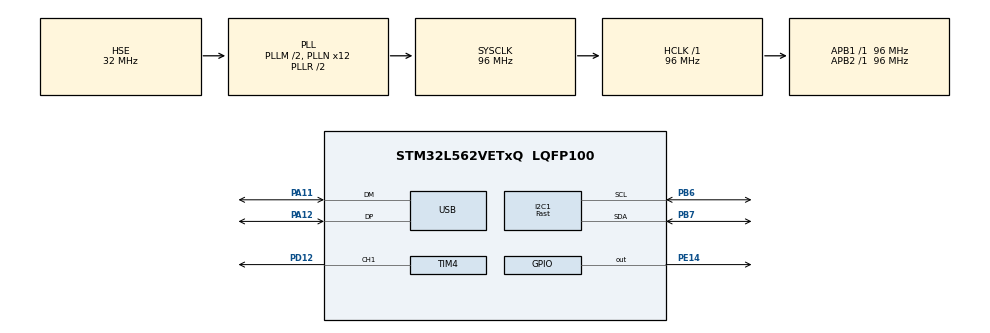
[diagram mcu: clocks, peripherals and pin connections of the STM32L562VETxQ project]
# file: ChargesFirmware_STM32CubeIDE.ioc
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I2C1.I2C_Speed_Mode=I2C_Fast
I2C1.Timing=0x009032AE
Mcu.Family=STM32L5
Mcu.Name=STM32L562VETxQ
Mcu.Package=LQFP100
NVIC.PriorityGroup=NVIC_PRIORITYGROUP_3
NVIC.USB_FS_IRQn=true\:0\:0\:false\:false\:true\:false\:true\:true
PA11.Mode=Device
PA11.Signal=USB_DM
PA12.Mode=Device
PA12.Signal=USB_DP
PA13\ (JTMS/SWDIO).Mode=Serial_Wire
PA13\ (JTMS/SWDIO).Signal=DEBUG_JTMS-SWDIO
PA14\ (JTCK/SWCLK).Mode=Serial_Wire
PA14\ (JTCK/SWCLK).Signal=DEBUG_JTCK-SWCLK
PB6.Mode=I2C
PB6.Signal=I2C1_SCL
PB7.Mode=I2C
PB7.Signal=I2C1_SDA
PD12.Signal=S_TIM4_CH1
PE14.Signal=GPIO_Output
PH0-OSC_IN\ (PH0).Mode=HSE-External-Oscillator
PH0-OSC_IN\ (PH0).Signal=RCC_OSC_IN
PH1-OSC_OUT\ (PH1).Mode=HSE-External-Oscillator
PH1-OSC_OUT\ (PH1).Signal=RCC_OSC_OUT
ProjectManager.HeapSize=0x200
ProjectManager.StackSize=0x400
ProjectManager.TargetToolchain=STM32CubeIDE
RCC.ADCFreq_Value=48000000
RCC.AHBFreq_Value=96000000
RCC.APB1Freq_Value=96000000
RCC.APB1TimFreq_Value=96000000
RCC.APB2Freq_Value=96000000
RCC.APB2TimFreq_Value=96000000
RCC.CK48CLockSelection=RCC_USBCLKSOURCE_PLL
RCC.CortexFreq_Value=96000000
RCC.HCLKFreq_Value=96000000
RCC.HSE_VALUE=32000000
RCC.HSI48_VALUE=48000000
RCC.HSI_VALUE=16000000
RCC.LSE_VALUE=32768
RCC.MSIClockRange=RCC_MSIRANGE_10
RCC.MSI_VALUE=32000000
RCC.PLLM=2
RCC.PLLN=12
RCC.PLLQ=RCC_PLLQ_DIV4
RCC.PLLSAI1M=4
RCC.PLLSAI1N=12
RCC.PLLSourceVirtual=RCC_PLLSOURCE_HSE
RCC.SYSCLKFreq_VALUE=96000000
RCC.SYSCLKSource=RCC_SYSCLKSOURCE_PLLCLK
RCC.USBFreq_Value=48000000
RCC.VCOOutputFreq_Value=192000000
SH.S_TIM4_CH1.0=TIM4_CH1,PWM Generation1 CH1
TIM4.Channel-PWM\ Generation1\ CH1=TIM_CHANNEL_1
TIM4.Period=20
TIM4.Prescaler=127
USB_DEVICE.CLASS_NAME_FS=MSC
USB_DEVICE.VirtualMode=Msc
USB_DEVICE.VirtualModeFS=Msc_FS
VP_FATFS_VS_Generic.Mode=User_defined
VP_ICACHE_VS_ICACHE.Mode=DefaultMode
VP_PWR_VS_DBSignals.Mode=DisableDeadBatterySignals
VP_PWR_VS_SECSignals.Mode=Security/Privilege
VP_TIM4_VS_ClockSourceINT.Mode=Internal
VP_USB_DEVICE_VS_USB_DEVICE_MSC_FS.Mode=MSC_FS
board=custom

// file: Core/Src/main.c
/* USER CODE BEGIN Header */
/**
 ******************************************************************************
 * @file           : main.c
 * @brief          : Main program body
 ******************************************************************************
 * @attention
 *
 * Copyright (c) 2022 STMicroelectronics.
 * All rights reserved.
 *
 * This software is licensed under terms that can be found in the LICENSE file
 * in the root directory of this software component.
 * If no LICENSE file comes with this software, it is provided AS-IS.
 *
 ******************************************************************************
 */
/* USER CODE END Header */
#include "main.h"
#include "app_fatfs.h"
#include "usb_device.h"

/* USER CODE BEGIN Includes */
#include <string.h>
#include <stdio.h>
#include <stdbool.h>
/* USER CODE END Includes */

 I2C_HandleTypeDef hi2c1;

TIM_HandleTypeDef htim4;

void SystemClock_Config(void);
static void MX_GPIO_Init(void);
static void MX_ICACHE_Init(void);
static void MX_I2C1_Init(void);
static void MX_TIM4_Init(void);

int main(void)
{
  /* USER CODE BEGIN 1 */
	int16_t val;
	float temp_c;
	uint8_t buf[1];
	uint8_t validAddr[20];
	uint8_t addrIndex = 0;
  /* USER CODE END 1 */

  /* MCU Configuration--------------------------------------------------------*/

  /* Reset of all peripherals, Initializes the Flash interface and the Systick. */
  HAL_Init();

  /* Configure the system clock */
  SystemClock_Config();

  /* Initialize all configured peripherals */
  MX_GPIO_Init();
  MX_ICACHE_Init();
  MX_USB_Device_Init();
  if (MX_FATFS_Init() != APP_OK) {
    Error_Handler();
  }
  MX_I2C1_Init();
  MX_TIM4_Init();
  /* USER CODE BEGIN 2 */
	HAL_TIM_PWM_Start(&htim4, TIM_CHANNEL_1);

	HAL_StatusTypeDef i2c;

	/*--------MS5607_VARS-------------*/
	const uint8_t MS5607_ADDR = 0x77 << 1;
	uint8_t dataBuf[3];
	uint32_t rawTemp = 0, rawPressure = 0; //will hold raw uncalibrated 24 bit readings
	uint16_t C1, C2, C3, C4, C5, C6; // calibration data, explained in datasheet
	int32_t dT, TEMP, P;
	int64_t OFF, SENS;
	/*--------------------------------*/

	/*--------MS5607_INIT-------------*/
	//continually send reset commands until chip wakes up and successfully acknowledges
	do {
		dataBuf[0] = 0x1E;
		i2c = HAL_I2C_Master_Transmit(&hi2c1, MS5607_ADDR, dataBuf, 1,
				HAL_MAX_DELAY);
	} while (i2c != HAL_OK);

	//read in the factory calibration data stored in PROM
	dataBuf[0] = 0xA1; //C1 - Pressure Sensitivity
	i2c = HAL_I2C_Master_Transmit(&hi2c1, MS5607_ADDR, dataBuf, 1,
			HAL_MAX_DELAY);
	i2c = HAL_I2C_Master_Receive(&hi2c1, MS5607_ADDR, dataBuf, 2,
			HAL_MAX_DELAY);
	C1 = (dataBuf[0] << 8) | (dataBuf[1]);

	dataBuf[0] = 0xA2; //C2 - Pressure Offset
	i2c = HAL_I2C_Master_Transmit(&hi2c1, MS5607_ADDR, dataBuf, 1,
			HAL_MAX_DELAY);
	i2c = HAL_I2C_Master_Receive(&hi2c1, MS5607_ADDR, dataBuf, 2,
			HAL_MAX_DELAY);
	C2 = (dataBuf[0] << 8) | (dataBuf[1]);

	dataBuf[0] = 0xA3; //C3 - Temperature Coefficient of Pressure Sensitivity
	i2c = HAL_I2C_Master_Transmit(&hi2c1, MS5607_ADDR, dataBuf, 1,
			HAL_MAX_DELAY);
	i2c = HAL_I2C_Master_Receive(&hi2c1, MS5607_ADDR, dataBuf, 2,
			HAL_MAX_DELAY);
	C3 = (dataBuf[0] << 8) | (dataBuf[1]);

	dataBuf[0] = 0xA4; //C4 - Temperature Coefficient of Pressure Offset
	i2c = HAL_I2C_Master_Transmit(&hi2c1, MS5607_ADDR, dataBuf, 1,
			HAL_MAX_DELAY);
	i2c = HAL_I2C_Master_Receive(&hi2c1, MS5607_ADDR, dataBuf, 2,
			HAL_MAX_DELAY);
	C4 = (dataBuf[0] << 8) | (dataBuf[1]);

	dataBuf[0] = 0xA5; //C5 - Reference Temperature
	i2c = HAL_I2C_Master_Transmit(&hi2c1, MS5607_ADDR, dataBuf, 1,
			HAL_MAX_DELAY);
	i2c = HAL_I2C_Master_Receive(&hi2c1, MS5607_ADDR, dataBuf, 2,
			HAL_MAX_DELAY);
	C5 = (dataBuf[0] << 8) | (dataBuf[1]);

	dataBuf[0] = 0xA6; //C6 - Temperature coefficient of the temperature
	i2c = HAL_I2C_Master_Transmit(&hi2c1, MS5607_ADDR, dataBuf, 1,
			HAL_MAX_DELAY);
	i2c = HAL_I2C_Master_Receive(&hi2c1, MS5607_ADDR, dataBuf, 2,
			HAL_MAX_DELAY);
	C6 = (dataBuf[0] << 8) | (dataBuf[1]);
	/*--------------------------------*/

  /* USER CODE END 2 */

  /* Infinite loop */
	while (1) {

    /* USER CODE BEGIN 3 */

		/*--------MS5607_READ-------------*/
		//start temp reading (0x58), start adc reading (0x00), store data in rawTemp
		dataBuf[0] = 0x58;
		i2c = HAL_I2C_Master_Transmit(&hi2c1, MS5607_ADDR, dataBuf, 1,
				HAL_MAX_DELAY);
		dataBuf[0] = 0x00;
		i2c = HAL_I2C_Master_Transmit(&hi2c1, MS5607_ADDR, dataBuf, 1,
				HAL_MAX_DELAY);
		i2c = HAL_I2C_Master_Receive(&hi2c1, MS5607_ADDR, dataBuf, 3,
				HAL_MAX_DELAY);
		rawTemp = (dataBuf[0] << 16) | (dataBuf[1] << 8) | (dataBuf[2]);

		//start pressure reading (0x48), start adc reading (0x00), store data in rawPressure
		dataBuf[0] = 0x48;
		i2c = HAL_I2C_Master_Transmit(&hi2c1, MS5607_ADDR, dataBuf, 1,
				HAL_MAX_DELAY);
		dataBuf[0] = 0x00;
		i2c = HAL_I2C_Master_Transmit(&hi2c1, MS5607_ADDR, dataBuf, 1,
				HAL_MAX_DELAY);
		i2c = HAL_I2C_Master_Receive(&hi2c1, MS5607_ADDR, dataBuf, 3,
				HAL_MAX_DELAY);
		rawPressure = (dataBuf[0] << 16) | (dataBuf[1] << 8) | (dataBuf[2]);

		//calculate the temperature
		dT = rawTemp - (((int64_t)C5) * 2 ^ 8);
		TEMP = 2000 + dT * ((int64_t)C6) / (2 ^ 23);

		//calculate temperature compensated pressure
		OFF = ((int64_t)C2) * (2 ^ 17) + (((int64_t)C4) * dT) / (2 ^ 6);
		SENS = ((int64_t)C1) * (2 ^ 16) + (((int64_t)C3) * dT) / (2 ^ 7);
		P = ((rawPressure * SENS) / (2 ^ 21) - OFF) / (2 ^ 15);
		/*--------------------------------*/

	}
	/* int x;
	 for(x=40; x<1000; x=x+1)
	 {
	 __HAL_TIM_SET_AUTORELOAD(&hTIM4, x*2);
	 __HAL_TIM_SET_COMPARE(&hTIM4, TIM_CHANNEL_1, x);
	 HAL_Delay(100);
	 }*/
  /* USER CODE END 3 */
}

void SystemClock_Config(void)
{
  RCC_OscInitTypeDef RCC_OscInitStruct = {0};
  RCC_ClkInitTypeDef RCC_ClkInitStruct = {0};

  /** Configure the main internal regulator output voltage
  */
  if (HAL_PWREx_ControlVoltageScaling(PWR_REGULATOR_VOLTAGE_SCALE0) != HAL_OK)
  {
    Error_Handler();
  }

  /** Initializes the RCC Oscillators according to the specified parameters
  * in the RCC_OscInitTypeDef structure.
  */
  RCC_OscInitStruct.OscillatorType = RCC_OSCILLATORTYPE_HSE;
  RCC_OscInitStruct.HSEState = RCC_HSE_ON;
  RCC_OscInitStruct.PLL.PLLState = RCC_PLL_ON;
  RCC_OscInitStruct.PLL.PLLSource = RCC_PLLSOURCE_HSE;
  RCC_OscInitStruct.PLL.PLLM = 2;
  RCC_OscInitStruct.PLL.PLLN = 12;
  RCC_OscInitStruct.PLL.PLLP = RCC_PLLP_DIV7;
  RCC_OscInitStruct.PLL.PLLQ = RCC_PLLQ_DIV4;
  RCC_OscInitStruct.PLL.PLLR = RCC_PLLR_DIV2;
  if (HAL_RCC_OscConfig(&RCC_OscInitStruct) != HAL_OK)
  {
    Error_Handler();
  }

  /** Initializes the CPU, AHB and APB buses clocks
  */
  RCC_ClkInitStruct.ClockType = RCC_CLOCKTYPE_HCLK|RCC_CLOCKTYPE_SYSCLK
                              |RCC_CLOCKTYPE_PCLK1|RCC_CLOCKTYPE_PCLK2;
  RCC_ClkInitStruct.SYSCLKSource = RCC_SYSCLKSOURCE_PLLCLK;
  RCC_ClkInitStruct.AHBCLKDivider = RCC_SYSCLK_DIV1;
  RCC_ClkInitStruct.APB1CLKDivider = RCC_HCLK_DIV1;
  RCC_ClkInitStruct.APB2CLKDivider = RCC_HCLK_DIV1;

  if (HAL_RCC_ClockConfig(&RCC_ClkInitStruct, FLASH_LATENCY_4) != HAL_OK)
  {
    Error_Handler();
  }
}

static void MX_I2C1_Init(void)
{

  hi2c1.Instance = I2C1;
  hi2c1.Init.Timing = 0x009032AE;
  hi2c1.Init.OwnAddress1 = 0;
  hi2c1.Init.AddressingMode = I2C_ADDRESSINGMODE_7BIT;
  hi2c1.Init.DualAddressMode = I2C_DUALADDRESS_DISABLE;
  hi2c1.Init.OwnAddress2 = 0;
  hi2c1.Init.OwnAddress2Masks = I2C_OA2_NOMASK;
  hi2c1.Init.GeneralCallMode = I2C_GENERALCALL_DISABLE;
  hi2c1.Init.NoStretchMode = I2C_NOSTRETCH_DISABLE;
  if (HAL_I2C_Init(&hi2c1) != HAL_OK)
  {
    Error_Handler();
  }

  /** Configure Analogue filter
  */
  if (HAL_I2CEx_ConfigAnalogFilter(&hi2c1, I2C_ANALOGFILTER_ENABLE) != HAL_OK)
  {
    Error_Handler();
  }

  /** Configure Digital filter
  */
  if (HAL_I2CEx_ConfigDigitalFilter(&hi2c1, 0) != HAL_OK)
  {
    Error_Handler();
  }

}

static void MX_ICACHE_Init(void)
{

  /** Enable instruction cache (default 2-ways set associative cache)
  */
  if (HAL_ICACHE_Enable() != HAL_OK)
  {
    Error_Handler();
  }

}

static void MX_TIM4_Init(void)
{

  TIM_ClockConfigTypeDef sClockSourceConfig = {0};
  TIM_MasterConfigTypeDef sMasterConfig = {0};
  TIM_OC_InitTypeDef sConfigOC = {0};

  htim4.Instance = TIM4;
  htim4.Init.Prescaler = 127;
  htim4.Init.CounterMode = TIM_COUNTERMODE_UP;
  htim4.Init.Period = 20;
  htim4.Init.ClockDivision = TIM_CLOCKDIVISION_DIV1;
  htim4.Init.AutoReloadPreload = TIM_AUTORELOAD_PRELOAD_DISABLE;
  if (HAL_TIM_Base_Init(&htim4) != HAL_OK)
  {
    Error_Handler();
  }
  sClockSourceConfig.ClockSource = TIM_CLOCKSOURCE_INTERNAL;
  if (HAL_TIM_ConfigClockSource(&htim4, &sClockSourceConfig) != HAL_OK)
  {
    Error_Handler();
  }
  if (HAL_TIM_PWM_Init(&htim4) != HAL_OK)
  {
    Error_Handler();
  }
  sMasterConfig.MasterOutputTrigger = TIM_TRGO_RESET;
  sMasterConfig.MasterSlaveMode = TIM_MASTERSLAVEMODE_DISABLE;
  if (HAL_TIMEx_MasterConfigSynchronization(&htim4, &sMasterConfig) != HAL_OK)
  {
    Error_Handler();
  }
  sConfigOC.OCMode = TIM_OCMODE_PWM1;
  sConfigOC.Pulse = 0;
  sConfigOC.OCPolarity = TIM_OCPOLARITY_HIGH;
  sConfigOC.OCFastMode = TIM_OCFAST_DISABLE;
  if (HAL_TIM_PWM_ConfigChannel(&htim4, &sConfigOC, TIM_CHANNEL_1) != HAL_OK)
  {
    Error_Handler();
  }
  HAL_TIM_MspPostInit(&htim4);

}

static void MX_GPIO_Init(void)
{
  GPIO_InitTypeDef GPIO_InitStruct = {0};

  /* GPIO Ports Clock Enable */
  __HAL_RCC_GPIOH_CLK_ENABLE();
  __HAL_RCC_GPIOE_CLK_ENABLE();
  __HAL_RCC_GPIOD_CLK_ENABLE();
  __HAL_RCC_GPIOA_CLK_ENABLE();
  __HAL_RCC_GPIOB_CLK_ENABLE();

  /*Configure GPIO pin Output Level */
  HAL_GPIO_WritePin(GPIOE, GPIO_PIN_14, GPIO_PIN_RESET);

  /*Configure GPIO pin : PE14 */
  GPIO_InitStruct.Pin = GPIO_PIN_14;
  GPIO_InitStruct.Mode = GPIO_MODE_OUTPUT_PP;
  GPIO_InitStruct.Pull = GPIO_NOPULL;
  GPIO_InitStruct.Speed = GPIO_SPEED_FREQ_LOW;
  HAL_GPIO_Init(GPIOE, &GPIO_InitStruct);

}

void Error_Handler(void)
{
		__disable_irq();
		while (1) {
		}
}
